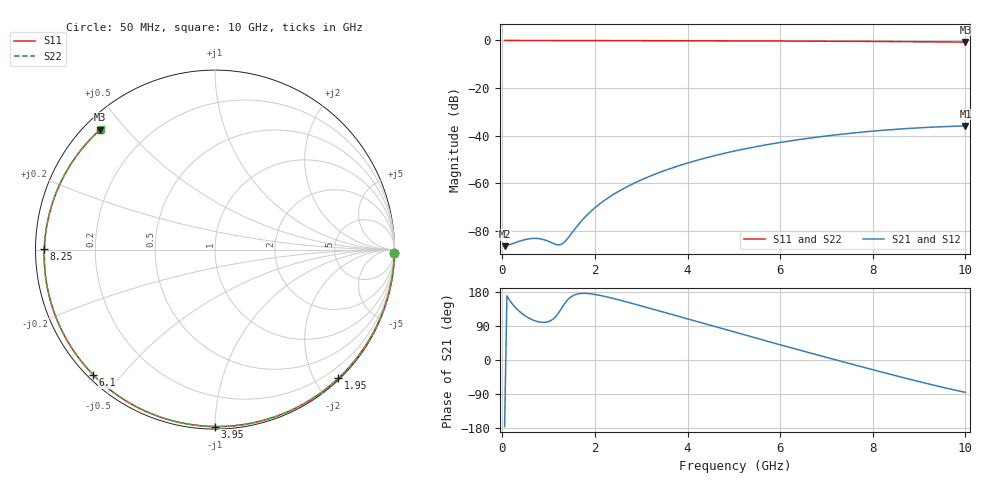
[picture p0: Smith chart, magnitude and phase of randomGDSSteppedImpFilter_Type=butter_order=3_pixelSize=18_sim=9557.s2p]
! freq	dB(S11)	phase(S11)	dB(S12)	phase(S12)
!  dB(S21)	phase(S21)	dB(S22)	phase(S22)
!S-par simulation data
#  GHz  S  DB  R 50
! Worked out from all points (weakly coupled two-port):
!   200 points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, 50 MHz to 10 GHz, reference 50 ohm
!   highest |S21| = -35.93 dB at 10 GHz (marker M1); lowest = -86.5 dB at 50 MHz (marker M2)
!   lowest |S11| = -0.7 dB at 10 GHz (marker M3), VSWR 25.64, Z = 2.31 + j21.3 ohm
!   |S11| at or under -10 dB: nowhere
!   |S22| runs from -0.7 to 0.0 dB; largest |S21 - S12| = 0
!   S11 on the Smith chart (normalised r, x): 50 MHz: 0, -94; 1.95 GHz: 0.02, -2.35; 3.95 GHz: 0.01, -1.00; 6.1 GHz: 0.02, -0.42; 8.25 GHz: 0.03, +0.00; 10 GHz: 0.05, +0.43
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0.05  -0.00 -1.2  -86.45 -175.8  -86.45 -175.8  -0.00 -1.2
0.75  -0.02 -18.1  -83.21 101.8  -83.21 101.8  -0.02 -18.1
1.5  -0.05 -35.8  -80.96 168.0  -80.96 168.0  -0.05 -35.8
1.55  -0.05 -36.9  -79.66 171.3  -79.66 171.3  -0.05 -36.9
1.75  -0.05 -41.6  -74.97 175.9  -74.97 175.9  -0.05 -41.6
1.95  -0.06 -46.2  -71.16 174.0  -71.16 174.0  -0.06 -46.2
2.25  -0.07 -53.0  -66.62 166.8  -66.62 166.8  -0.07 -53.0
2.55  -0.08 -59.8  -62.99 157.6  -62.99 157.6  -0.08 -59.7
2.95  -0.09 -68.6  -59.05 144.4  -59.05 144.4  -0.09 -68.6
3.4  -0.10 -78.4  -55.43 129.1  -55.43 129.1  -0.10 -78.4
3.95  -0.12 -90.1  -51.81 110.2  -51.81 110.2  -0.12 -90.1
4.5  -0.15 -101.6  -48.82 91.3  -48.82 91.3  -0.15 -101.6
5.05  -0.17 -112.9  -46.32 72.4  -46.32 72.4  -0.17 -112.9
6.1  -0.24 -134.2  -42.56 36.8  -42.56 36.8  -0.24 -134.2
6.7  -0.28 -146.5  -40.87 16.8  -40.87 16.8  -0.28 -146.6
7.5  -0.36 -163.4  -39.04 -9.5  -39.04 -9.5  -0.36 -163.5
8.25  -0.44 179.8  -37.70 -33.6  -37.70 -33.6  -0.44 179.7
8.35  -0.45 177.4  -37.55 -36.8  -37.55 -36.8  -0.45 177.3
8.8  -0.50 166.6  -36.94 -50.9  -36.94 -50.9  -0.51 166.4
9.2  -0.56 156.3  -36.51 -63.0  -36.51 -63.0  -0.56 156.1
9.6  -0.62 145.4  -36.17 -74.6  -36.17 -74.6  -0.62 145.2
10  -0.68 133.7  -35.93 -85.4  -35.93 -85.4  -0.68 133.4
